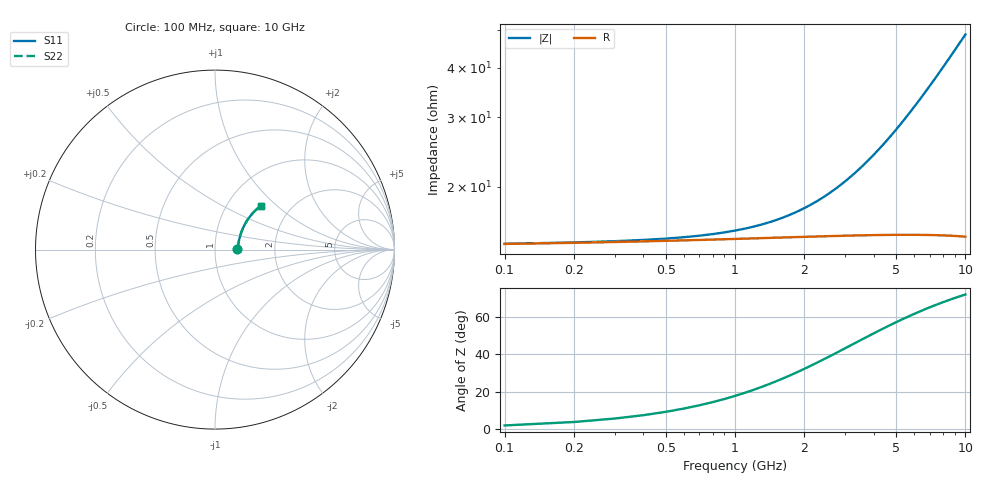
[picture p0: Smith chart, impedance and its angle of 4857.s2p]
# Hz S RI R 50.00
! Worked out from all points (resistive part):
!   100 points, 100 MHz to 10 GHz, reference 50 ohm
!   read as one part in series: R = 14.3 ohm at 100 MHz
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1e8  0.1252 0.00302  0.8748 -0.00418  0.8748 -0.00418  0.1252 0.00302
6e8  0.128 0.018  0.872 -0.0249  0.872 -0.0249  0.128 0.018
8e8  0.1289 0.0239  0.871 -0.0332  0.871 -0.0332  0.1289 0.0239
1e9  0.1299 0.0298  0.87 -0.0414  0.87 -0.0414  0.1299 0.0298
1.2e9  0.1309 0.0357  0.869 -0.0497  0.869 -0.0497  0.1309 0.0357
1.4e9  0.132 0.0416  0.8679 -0.0579  0.8679 -0.0579  0.132 0.0416
1.8e9  0.1343 0.0533  0.8654 -0.0742  0.8654 -0.0742  0.1343 0.0533
2.1e9  0.1363 0.062  0.8633 -0.0863  0.8633 -0.0863  0.1363 0.062
2.4e9  0.1386 0.0706  0.861 -0.0984  0.861 -0.0984  0.1386 0.0706
3.4e9  0.1474 0.0987  0.8517 -0.1381  0.8517 -0.1381  0.1474 0.0987
4.3e9  0.1575 0.1229  0.8412 -0.1729  0.8412 -0.1729  0.1575 0.1229
5.1e9  0.1679 0.1436  0.8302 -0.2028  0.8302 -0.2028  0.1679 0.1436
5.5e9  0.1736 0.1535  0.8242 -0.2174  0.8242 -0.2174  0.1736 0.1535
5.9e9  0.1796 0.1632  0.8178 -0.2317  0.8178 -0.2317  0.1796 0.1632
6.3e9  0.186 0.1726  0.8111 -0.2458  0.8111 -0.2458  0.186 0.1726
6.7e9  0.1927 0.1817  0.8041 -0.2596  0.8041 -0.2596  0.1927 0.1817
7.1e9  0.1996 0.1905  0.7967 -0.2731  0.7967 -0.2731  0.1996 0.1905
7.5e9  0.2068 0.199  0.7891 -0.2863  0.7891 -0.2863  0.2068 0.199
7.9e9  0.2142 0.2072  0.7812 -0.2991  0.7812 -0.2991  0.2142 0.2072
8.4e9  0.2239 0.217  0.771 -0.3148  0.771 -0.3148  0.2239 0.217
9.2e9  0.24 0.2315  0.7539 -0.3387  0.7539 -0.3387  0.24 0.2315
1e10  0.2568 0.2447  0.736 -0.3613  0.736 -0.3613  0.2568 0.2447
